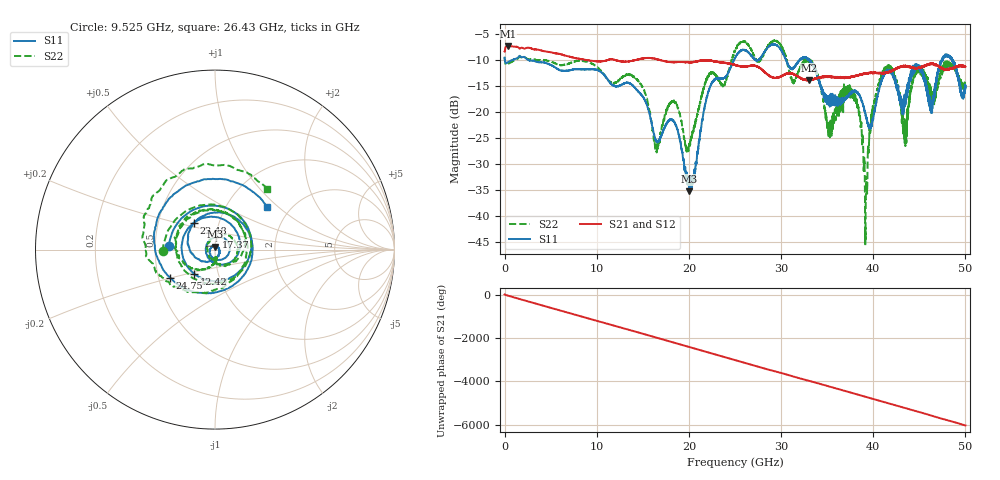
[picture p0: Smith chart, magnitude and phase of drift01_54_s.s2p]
!Created with skrf (http://scikit-rf.org).
# Hz S RI R 50.0
!freq ReS11 ImS11 ReS21 ImS21 ReS12 ImS12 ReS22 ImS22
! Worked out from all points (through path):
!   10001 points, 300 kHz to 50 GHz, reference 50 ohm
!   highest |S21| = -7.33 dB at 365.3 MHz (marker M1); lowest = -14.0 dB at 33.02 GHz (marker M2)
!   group delay of S21, straight-line fit = 335 ps
!   lowest |S11| = -35.3 dB at 20.01 GHz (marker M3), VSWR 1.04, Z = 49.9 + j1.72 ohm
!   |S11| at or under -10 dB: 2.566 GHz to 24.9 GHz (22.34 GHz wide, 163 % of centre); 30.52 GHz to 32.02 GHz (1.499 GHz wide, 4.79 % of centre); 33.05 GHz to 47.45 GHz (14.4 GHz wide, 35.8 % of centre) (the widest 3 of 20)
!   |S22| runs from -45.9 to -6.3 dB; largest |S21 - S12| = 0.0088
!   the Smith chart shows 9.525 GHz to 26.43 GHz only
!   S11 on the Smith chart (normalised r, x): 9.525 GHz: 0.59, +0.03; 12.42 GHz: 0.77, -0.21; 17.37 GHz: 1.00, +0.14; 22.48 GHz: 0.76, +0.23; 24.75 GHz: 0.58, -0.20; 26.43 GHz: 1.53, +0.84
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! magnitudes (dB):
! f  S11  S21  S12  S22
! 300 kHz  -9.6  -8.4  -8.5  -9.5
! 365.3 MHz  -10.4  -7.3  -7.3  -10.8
! 8.335 GHz  -11.8  -9.8  -9.9  -10.2
! 9.525 GHz  -11.8  -10.2  -10.2  -10.8
! 12.42 GHz  -15.0  -10.2  -10.2  -14.0
! 16.67 GHz  -25.9  -10.0  -10.0  -27.1
! 17.37 GHz  -23.0  -10.2  -10.3  -20.8
! 20.01 GHz  -35.3  -10.5  -10.5  -26.4
! 22.48 GHz  -14.4  -10.2  -10.2  -12.5
! 24.75 GHz  -10.6  -10.8  -10.8  -9.3
! 25 GHz  -9.6  -11.0  -11.0  -8.3
! 26.43 GHz  -8.6  -11.2  -11.2  -7.1
! 33.02 GHz  -10.0  -14.0  -13.8  -10.1
! 33.34 GHz  -10.8  -13.8  -13.8  -10.6
! 35.23 GHz  -17.7  -13.2  -13.3  -22.5
! 37.99 GHz  -15.8  -13.1  -13.1  -17.4
! 39.17 GHz  -20.5  -12.6  -12.6  -41.9
! 40.14 GHz  -19.9  -12.5  -12.5  -17.8
! 41.67 GHz  -12.0  -12.3  -12.4  -12.1
! 43.45 GHz  -17.8  -11.3  -11.3  -24.8
! 44.87 GHz  -11.1  -11.6  -11.5  -11.8
! 50 GHz  -15.5  -11.3  -11.4  -15.0
